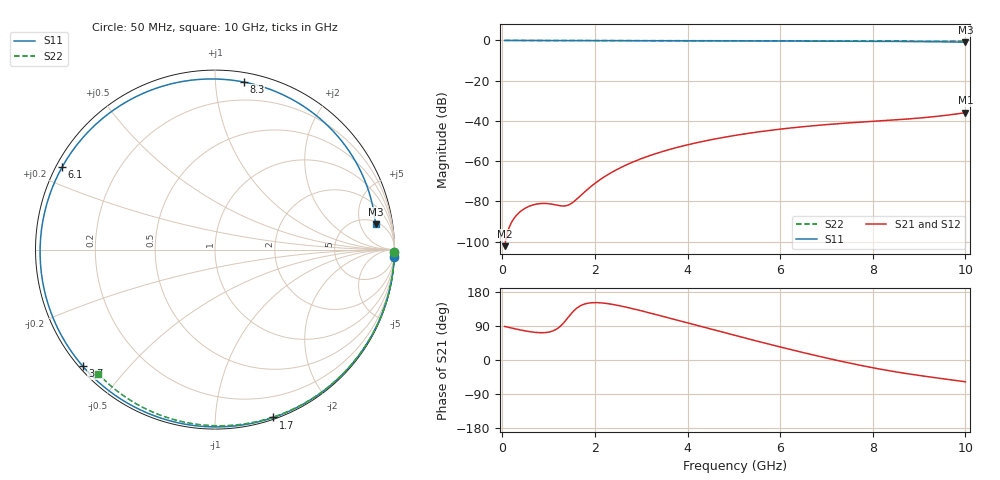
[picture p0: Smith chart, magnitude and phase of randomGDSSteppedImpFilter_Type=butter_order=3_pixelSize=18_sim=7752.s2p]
! freq	dB(S11)	phase(S11)	dB(S12)	phase(S12)
!  dB(S21)	phase(S21)	dB(S22)	phase(S22)
!S-par simulation data
#  GHz  S  DB  R 50
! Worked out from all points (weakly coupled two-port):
!   200 points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, 50 MHz to 10 GHz, reference 50 ohm
!   highest |S21| = -35.87 dB at 10 GHz (marker M1); lowest = -102.2 dB at 50 MHz (marker M2)
!   lowest |S11| = -0.9 dB at 10 GHz (marker M3), VSWR 20.15, Z = 291 + j455 ohm
!   |S11| at or under -10 dB: nowhere
!   |S22| runs from -0.4 to 0.0 dB; largest |S21 - S12| = 0
!   S11 on the Smith chart (normalised r, x): 50 MHz: 0, -52; 1.7 GHz: 0.01, -1.41; 3.7 GHz: 0.01, -0.38; 6.1 GHz: 0.02, +0.25; 8.3 GHz: 0.07, +1.18; 10 GHz: 6, +9
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0.05  -0.00 -2.2  -102.24 88.6  -102.24 88.6  -0.00 -0.8
0.7  -0.04 -30.3  -81.52 73.0  -81.52 73.0  -0.01 -10.7
1.15  -0.06 -49.1  -81.71 80.1  -81.71 80.1  -0.02 -17.5
1.55  -0.08 -65.0  -80.02 130.5  -80.02 130.5  -0.03 -23.5
1.7  -0.09 -70.8  -76.94 143.9  -76.94 143.9  -0.03 -25.7
1.75  -0.09 -72.7  -75.87 146.6  -75.87 146.6  -0.03 -26.5
2.1  -0.10 -85.8  -69.36 151.1  -69.36 151.1  -0.04 -31.6
2.45  -0.11 -98.2  -64.46 145.2  -64.46 145.2  -0.05 -36.8
3.4  -0.15 -129.5  -55.61 117.3  -55.61 117.3  -0.07 -50.4
3.7  -0.16 -138.7  -53.62 107.5  -53.62 107.5  -0.07 -54.6
4.4  -0.19 -159.4  -49.84 84.8  -49.84 84.8  -0.09 -64.2
5.05  -0.22 -178.1  -47.11 64.0  -47.11 64.0  -0.11 -72.9
5.55  -0.25 167.6  -45.39 48.3  -45.39 48.3  -0.13 -79.4
6.1  -0.28 151.6  -43.82 31.4  -43.82 31.4  -0.15 -86.5
6.7  -0.33 133.6  -42.42 13.7  -42.42 13.7  -0.18 -94.0
7.55  -0.39 106.5  -40.87 -9.4  -40.87 -9.4  -0.23 -104.3
8.3  -0.47 80.3  -39.75 -27.2  -39.75 -27.2  -0.28 -113.2
8.35  -0.48 78.4  -39.68 -28.2  -39.68 -28.2  -0.29 -113.8
8.75  -0.53 63.2  -39.04 -36.2  -39.04 -36.2  -0.32 -118.5
9.15  -0.60 47.0  -38.27 -43.4  -38.27 -43.4  -0.36 -123.2
9.6  -0.71 27.6  -37.15 -50.9  -37.15 -50.9  -0.40 -128.4
10  -0.86 8.9  -35.87 -57.5  -35.87 -57.5  -0.45 -133.2
